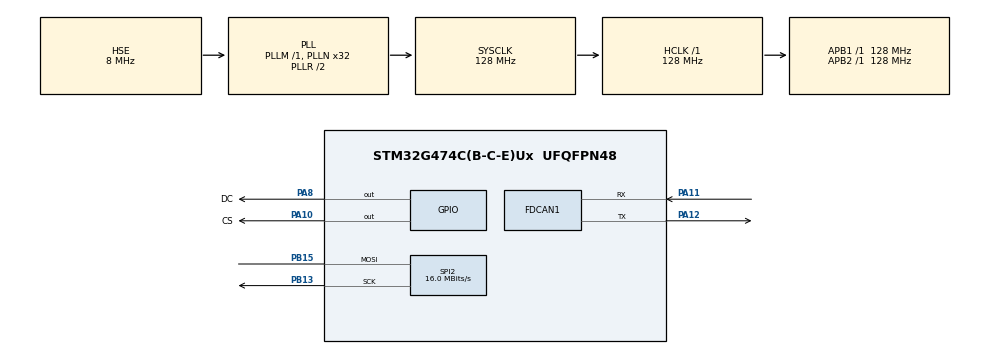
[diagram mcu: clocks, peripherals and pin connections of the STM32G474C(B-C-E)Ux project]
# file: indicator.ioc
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Dma.Request0=SPI2_TX
Dma.SPI2_TX.0.Direction=DMA_MEMORY_TO_PERIPH
Dma.SPI2_TX.0.EventEnable=DISABLE
Dma.SPI2_TX.0.Instance=DMA1_Channel1
Dma.SPI2_TX.0.MemDataAlignment=DMA_MDATAALIGN_BYTE
Dma.SPI2_TX.0.MemInc=DMA_MINC_ENABLE
Dma.SPI2_TX.0.Mode=DMA_NORMAL
Dma.SPI2_TX.0.PeriphDataAlignment=DMA_PDATAALIGN_BYTE
Dma.SPI2_TX.0.PeriphInc=DMA_PINC_DISABLE
Dma.SPI2_TX.0.Polarity=HAL_DMAMUX_REQ_GEN_RISING
Dma.SPI2_TX.0.Priority=DMA_PRIORITY_LOW
Dma.SPI2_TX.0.RequestNumber=1
Dma.SPI2_TX.0.SignalID=NONE
Dma.SPI2_TX.0.SyncEnable=DISABLE
Dma.SPI2_TX.0.SyncPolarity=HAL_DMAMUX_SYNC_NO_EVENT
Dma.SPI2_TX.0.SyncRequestNumber=1
Dma.SPI2_TX.0.SyncSignalID=NONE
FDCAN1.CalculateBaudRateNominal=2666666
FDCAN1.CalculateTimeBitNominal=375
FDCAN1.CalculateTimeQuantumNominal=125.0
FREERTOS.Queues01=lvglRead,4,uint32_t,0,Dynamic,NULL,NULL
FREERTOS.Tasks01=defaultTask,24,128,StartDefaultTask,Default,NULL,Dynamic,NULL,NULL;lvgl,24,1024,lvglhandler,Default,NULL,Dynamic,NULL,NULL;can,24,128,canRead,Default,NULL,Dynamic,NULL,NULL
FREERTOS.configTOTAL_HEAP_SIZE=16384
Mcu.Family=STM32G4
Mcu.Name=STM32G474C(B-C-E)Ux
Mcu.Package=UFQFPN48
NVIC.DMA1_Channel1_IRQn=true\:6\:0\:true\:false\:true\:true\:false\:true\:true
NVIC.PriorityGroup=NVIC_PRIORITYGROUP_4
NVIC.TIM1_UP_TIM16_IRQn=true\:15\:0\:false\:false\:true\:false\:false\:true\:true
NVIC.TimeBase=TIM1_UP_TIM16_IRQn
NVIC.TimeBaseIP=TIM1
PA10.GPIO_Label=CS
PA10.Signal=GPIO_Output
PA11.Mode=FDCAN_Activate
PA11.Signal=FDCAN1_RX
PA12.Mode=FDCAN_Activate
PA12.Signal=FDCAN1_TX
PA8.GPIO_Label=DC
PA8.Signal=GPIO_Output
PB13.Mode=Simplex_Bidirectional_Master
PB13.Signal=SPI2_SCK
PB15.Mode=Simplex_Bidirectional_Master
PB15.Signal=SPI2_MOSI
PF0-OSC_IN.Mode=HSE-External-Oscillator
PF0-OSC_IN.Signal=RCC_OSC_IN
PF1-OSC_OUT.Mode=HSE-External-Oscillator
PF1-OSC_OUT.Signal=RCC_OSC_OUT
ProjectManager.HeapSize=0x200
ProjectManager.StackSize=0x400
ProjectManager.TargetToolchain=CMake
RCC.ADC12Freq_Value=128000000
RCC.ADC345Freq_Value=128000000
RCC.AHBFreq_Value=128000000
RCC.APB1Freq_Value=128000000
RCC.APB1TimFreq_Value=128000000
RCC.APB2Freq_Value=128000000
RCC.APB2TimFreq_Value=128000000
RCC.CortexFreq_Value=128000000
RCC.EXTERNAL_CLOCK_VALUE=12288000
RCC.HCLKFreq_Value=128000000
RCC.HSE_VALUE=8000000
RCC.HSI48_VALUE=48000000
RCC.HSI_VALUE=16000000
RCC.LSE_VALUE=32768
RCC.PLLN=32
RCC.PLLSourceVirtual=RCC_PLLSOURCE_HSE
RCC.SYSCLKFreq_VALUE=128000000
RCC.SYSCLKSource=RCC_SYSCLKSOURCE_PLLCLK
RCC.USBFreq_Value=128000000
RCC.VCOOutputFreq_Value=256000000
SPI2.BaudRatePrescaler=SPI_BAUDRATEPRESCALER_8
SPI2.CalculateBaudRate=16.0 MBits/s
SPI2.DataSize=SPI_DATASIZE_8BIT
SPI2.Direction=SPI_DIRECTION_1LINE
SPI2.Mode=SPI_MODE_MASTER
SPI2.NSSPMode=SPI_NSS_PULSE_DISABLE
SPI2.VirtualType=VM_MASTER
VP_FREERTOS_VS_CMSIS_V2.Mode=CMSIS_V2
VP_SYS_VS_DBSignals.Mode=DisableDeadBatterySignals
VP_SYS_VS_tim1.Mode=TIM1
board=custom

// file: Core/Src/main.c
/* USER CODE BEGIN Header */
/**
  ******************************************************************************
  * @file           : main.c
  * @brief          : Main program body
  ******************************************************************************
  * @attention
  *
  * Copyright (c) 2026 STMicroelectronics.
  * All rights reserved.
  *
  * This software is licensed under terms that can be found in the LICENSE file
  * in the root directory of this software component.
  * If no LICENSE file comes with this software, it is provided AS-IS.
  *
  ******************************************************************************
  */
/* USER CODE END Header */
#include "main.h"
#include "cmsis_os.h"
#include "dma.h"
#include "fdcan.h"
#include "spi.h"
#include "gpio.h"

/* USER CODE BEGIN Includes */
#include "GC9A01.h"
#include "lvgl/lvgl.h"
#include "lv_port_disp.h"
#include "lvgl/examples/anim/lv_example_anim.h"
/* USER CODE END Includes */

/* USER CODE BEGIN PV */
QueueHandle_t can_rx_queue;
/* USER CODE END PV */

void SystemClock_Config(void);
void MX_FREERTOS_Init(void);

int main(void)
{

  /* MCU Configuration--------------------------------------------------------*/

  /* Reset of all peripherals, Initializes the Flash interface and the Systick. */
  HAL_Init();

  /* Configure the system clock */
  SystemClock_Config();

  /* Initialize all configured peripherals */
  MX_GPIO_Init();
  MX_DMA_Init();
  MX_FDCAN1_Init();
  MX_SPI2_Init();
  /* USER CODE BEGIN 2 */
  can_rx_queue = xQueueCreate(10, sizeof(CAN_Rx_Frame_t));

  if (can_rx_queue == NULL) {
    // Queue creation failed
    Error_Handler();
  }

  /* USER CODE END 2 */

  /* Init scheduler */
  osKernelInitialize();  /* Call init function for freertos objects (in cmsis_os2.c) */
  MX_FREERTOS_Init();

  /* Start scheduler */
  osKernelStart();

  /* We should never get here as control is now taken by the scheduler */

  /* Infinite loop */
  while (1)
  {

  }
}

void SystemClock_Config(void)
{
  RCC_OscInitTypeDef RCC_OscInitStruct = {0};
  RCC_ClkInitTypeDef RCC_ClkInitStruct = {0};

  /** Configure the main internal regulator output voltage
  */
  HAL_PWREx_ControlVoltageScaling(PWR_REGULATOR_VOLTAGE_SCALE1);

  /** Initializes the RCC Oscillators according to the specified parameters
  * in the RCC_OscInitTypeDef structure.
  */
  RCC_OscInitStruct.OscillatorType = RCC_OSCILLATORTYPE_HSE;
  RCC_OscInitStruct.HSEState = RCC_HSE_ON;
  RCC_OscInitStruct.PLL.PLLState = RCC_PLL_ON;
  RCC_OscInitStruct.PLL.PLLSource = RCC_PLLSOURCE_HSE;
  RCC_OscInitStruct.PLL.PLLM = RCC_PLLM_DIV1;
  RCC_OscInitStruct.PLL.PLLN = 32;
  RCC_OscInitStruct.PLL.PLLP = RCC_PLLP_DIV2;
  RCC_OscInitStruct.PLL.PLLQ = RCC_PLLQ_DIV2;
  RCC_OscInitStruct.PLL.PLLR = RCC_PLLR_DIV2;
  if (HAL_RCC_OscConfig(&RCC_OscInitStruct) != HAL_OK)
  {
    Error_Handler();
  }

  /** Initializes the CPU, AHB and APB buses clocks
  */
  RCC_ClkInitStruct.ClockType = RCC_CLOCKTYPE_HCLK|RCC_CLOCKTYPE_SYSCLK
                              |RCC_CLOCKTYPE_PCLK1|RCC_CLOCKTYPE_PCLK2;
  RCC_ClkInitStruct.SYSCLKSource = RCC_SYSCLKSOURCE_PLLCLK;
  RCC_ClkInitStruct.AHBCLKDivider = RCC_SYSCLK_DIV1;
  RCC_ClkInitStruct.APB1CLKDivider = RCC_HCLK_DIV1;
  RCC_ClkInitStruct.APB2CLKDivider = RCC_HCLK_DIV1;

  if (HAL_RCC_ClockConfig(&RCC_ClkInitStruct, FLASH_LATENCY_4) != HAL_OK)
  {
    Error_Handler();
  }
}

void HAL_TIM_PeriodElapsedCallback(TIM_HandleTypeDef *htim)
{
  if (htim->Instance == TIM1)
  {
    HAL_IncTick();
  }
}

void Error_Handler(void)
{
  __disable_irq();
  while (1)
  {
  }
}

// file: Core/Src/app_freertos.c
/* USER CODE BEGIN Header */
/**
  ******************************************************************************
  * File Name          : app_freertos.c
  * Description        : Code for freertos applications
  ******************************************************************************
  * @attention
  *
  * Copyright (c) 2026 STMicroelectronics.
  * All rights reserved.
  *
  * This software is licensed under terms that can be found in the LICENSE file
  * in the root directory of this software component.
  * If no LICENSE file comes with this software, it is provided AS-IS.
  *
  ******************************************************************************
  */
/* USER CODE END Header */

#include "FreeRTOS.h"
#include "task.h"
#include "main.h"
#include "cmsis_os.h"

/* USER CODE BEGIN Includes */
#include "GC9A01.h"
#include "lvgl/lvgl.h"
#include "lv_port_disp.h"
#include "queue.h"
#include "roxy.h"

/* USER CODE END Includes */

/* USER CODE BEGIN Variables */
LV_FONT_DECLARE(microgramma);

static lv_obj_t * rpm_arc;
static lv_obj_t * rpm_label;

/* USER CODE END Variables */
/* Definitions for defaultTask */
osThreadId_t defaultTaskHandle;
const osThreadAttr_t defaultTask_attributes = {
  .name = "defaultTask",
  .priority = (osPriority_t) osPriorityNormal,
  .stack_size = 128 * 4
};
/* Definitions for lvgl */
osThreadId_t lvglHandle;
const osThreadAttr_t lvgl_attributes = {
  .name = "lvgl",
  .priority = (osPriority_t) osPriorityNormal,
  .stack_size = 1024 * 4
};
/* Definitions for can */
osThreadId_t canHandle;
const osThreadAttr_t can_attributes = {
  .name = "can",
  .priority = (osPriority_t) osPriorityNormal,
  .stack_size = 128 * 4
};
/* Definitions for lvglRead */
osMessageQueueId_t lvglReadHandle;
const osMessageQueueAttr_t lvglRead_attributes = {
  .name = "lvglRead"
};

/* USER CODE BEGIN FunctionPrototypes */

static void create_tachometer_ui(void)
{
  lv_obj_t * scr = lv_screen_active();
  lv_obj_set_style_bg_color(scr, lv_color_black(), LV_PART_MAIN);

  /* Thicker Outer Tachometer Arc */
  rpm_arc = lv_arc_create(scr);
  lv_obj_set_size(rpm_arc, 224, 224);
  lv_obj_center(rpm_arc);
  lv_arc_set_angles(rpm_arc, 135, 45);
  lv_arc_set_bg_angles(rpm_arc, 135, 45);
  lv_arc_set_range(rpm_arc, 0, 4000); // 0 to 4000 RPM
  lv_arc_set_value(rpm_arc, 0);

  lv_obj_remove_style(rpm_arc, NULL, LV_PART_KNOB);
  lv_obj_remove_flag(rpm_arc, LV_OBJ_FLAG_CLICKABLE);

  // Background track
  lv_obj_set_style_arc_width(rpm_arc, 24, LV_PART_MAIN);
  lv_obj_set_style_arc_color(rpm_arc, lv_color_hex(0x2A2A2A), LV_PART_MAIN);
  lv_obj_set_style_arc_rounded(rpm_arc, true, LV_PART_MAIN);

  // Yellow indicator
  lv_obj_set_style_arc_width(rpm_arc, 24, LV_PART_INDICATOR);
  lv_obj_set_style_arc_color(rpm_arc, lv_color_hex(0xFFD700), LV_PART_INDICATOR);
  lv_obj_set_style_arc_rounded(rpm_arc, true, LV_PART_INDICATOR);

  // Central Numeric Readout
  rpm_label = lv_label_create(scr);
  lv_label_set_text(rpm_label, "0");
  lv_obj_set_style_text_font(rpm_label, &lv_font_montserrat_48, LV_PART_MAIN);
  lv_obj_set_style_text_color(rpm_label, lv_color_white(), LV_PART_MAIN);
  lv_obj_align(rpm_label, LV_ALIGN_CENTER, 0, -10);

  // Subtitle Label
  lv_obj_t * unit_label = lv_label_create(scr);
  lv_label_set_text(unit_label, "RPM");
  lv_obj_set_style_text_font(unit_label, &lv_font_montserrat_18, LV_PART_MAIN);
  lv_obj_set_style_text_color(unit_label, lv_color_hex(0x758095), LV_PART_MAIN);
  lv_obj_align(unit_label, LV_ALIGN_CENTER, 0, 28);
}

/* USER CODE END FunctionPrototypes */

void StartDefaultTask(void *argument);
void lvglhandler(void *argument);
void canRead(void *argument);

void MX_FREERTOS_Init(void); /* (MISRA C 2004 rule 8.1) */

void MX_FREERTOS_Init(void) {

  /* Create the queue(s) */
  /* creation of lvglRead */
  lvglReadHandle = osMessageQueueNew (4, sizeof(uint32_t), &lvglRead_attributes);

  /* Create the thread(s) */
  /* creation of defaultTask */
  defaultTaskHandle = osThreadNew(StartDefaultTask, NULL, &defaultTask_attributes);

  /* creation of lvgl */
  lvglHandle = osThreadNew(lvglhandler, NULL, &lvgl_attributes);

  /* creation of can */
  canHandle = osThreadNew(canRead, NULL, &can_attributes);

}

void StartDefaultTask(void *argument)
{
  for(;;)
  {
    osDelay(1);
  }
}

void lvglhandler(void *argument)
{
  /* USER CODE BEGIN lvglhandler */
  GC9A01_Init();
  lv_init();
  lv_tick_set_cb(HAL_GetTick);
  lv_port_disp_init();

  create_tachometer_ui();

  uint32_t received_rpm = 0;

  /* Infinite loop */
  for(;;)
  {
    // Check queue for new CAN data
    if (osMessageQueueGet(lvglReadHandle, &received_rpm, NULL, 0) == osOK) {
      lv_arc_set_value(rpm_arc, received_rpm);

      lv_label_set_text_fmt(rpm_label, "%lu", (unsigned long)received_rpm);
    }

    uint32_t sleep_time = lv_timer_handler();
    if(sleep_time > 10) sleep_time = 10;
    if(sleep_time < 1)  sleep_time = 1;
    osDelay(sleep_time);
  }
  /* USER CODE END lvglhandler */
}

void canRead(void *argument)
{
  /* USER CODE BEGIN canRead */
  CAN_Rx_Frame_t received_frame;

  /* Infinite loop */
  for(;;) {
    // Block indefinitely until a raw CAN frame arrives
    if (xQueueReceive(can_rx_queue, &received_frame, portMAX_DELAY) == pdTRUE) {

      // Check if rear_daq
      if (received_frame.id == 200) {
        struct roxy_rear_daq_t rear_data;

        // Parse the raw payload bytes
        if (roxy_rear_daq_unpack(&rear_data, received_frame.payload, received_frame.length) == 0) {

          double rpm = roxy_rear_daq_tachometer_decode(rear_data.tachometer);

          // Cast to uint32_t and send to the LVGL task queue
          uint32_t rpm_to_send = (uint32_t)rpm;
          osMessageQueuePut(lvglReadHandle, &rpm_to_send, 0, 0);
        }
      }
    }
  }
  /* USER CODE END canRead */
}
